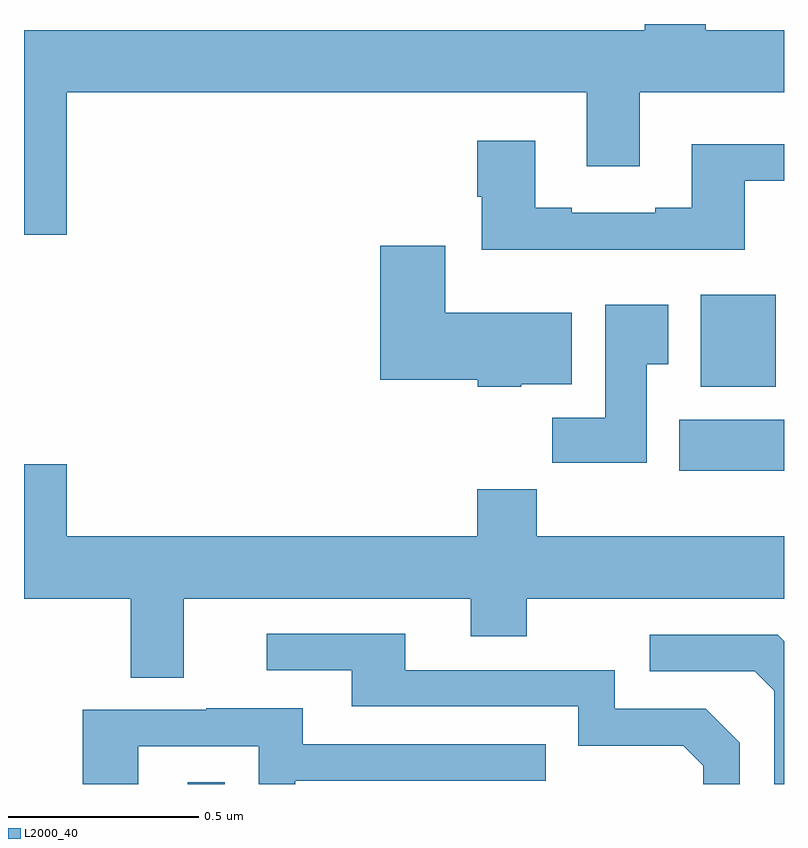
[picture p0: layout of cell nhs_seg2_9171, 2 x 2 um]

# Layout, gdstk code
import gdstk
lib = gdstk.Library(unit=1e-6, precision=1e-09)
def R(c, l, rs):  # rectangles x0, y0, x1, y1
    for r in rs: c.add(gdstk.rectangle(r[:2], r[2:], *l))
def P(c, l, *ps):  # polygons
    for p in ps: c.add(gdstk.Polygon(p, *l))
L2000_40 = (2000, 40)

nhs_seg2_9171 = lib.new_cell('nhs_seg2_9171')
R(nhs_seg2_9171, L2000_40, [(225.431,661.8,225.528,661.804), (226.724,662.624,227,662.758), (226.781,662.846,226.978,663.088)])
P(nhs_seg2_9171, L2000_40, [(225.112,663.62),(226.481,663.62),(226.481,663.426),(226.621,663.426),(226.621,663.62),(227,663.62),(227,663.784),(226.794,663.784),(226.794,663.8),(226.634,663.8),(226.634,663.784),(225,663.784),(225,663.246),(225.112,663.246)],
  [(226.897,663.387),(227,663.387),(227,663.484),(226.757,663.484),(226.757,663.316),(226.661,663.316),(226.661,663.303),(226.441,663.303),(226.441,663.316),(226.345,663.316),(226.345,663.493),(226.193,663.493),(226.193,663.345),(226.205,663.345),(226.205,663.206),(226.897,663.206)],
  [(226.308,662.852),(226.441,662.852),(226.441,663.04),(226.108,663.04),(226.108,663.217),(225.938,663.217),(225.938,662.864),(226.194,662.864),(226.194,662.846),(226.308,662.846)],
  [(226.639,662.905),(226.696,662.905),(226.696,663.061),(226.529,663.061),(226.529,662.764),(226.39,662.764),(226.39,662.646),(226.639,662.646)],
  [(225.421,662.288),(226.175,662.288),(226.175,662.189),(226.323,662.189),(226.323,662.288),(227,662.288),(227,662.452),(226.349,662.452),(226.349,662.576),(226.193,662.576),(226.193,662.452),(225.112,662.452),(225.112,662.641),(225,662.641),(225,662.288),(225.281,662.288),(225.281,662.08),(225.421,662.08)],
  [(226.884,661.908),(226.794,661.998),(226.554,661.998),(226.554,662.1),(226.003,662.1),(226.003,662.196),(225.639,662.196),(225.639,662.1),(225.863,662.1),(225.863,662.004),(226.458,662.004),(226.458,661.901),(226.735,661.901),(226.788,661.848),(226.788,661.8),(226.884,661.8)],
  [(227,662.176),(226.983,662.193),(226.647,662.193),(226.647,662.097),(226.923,662.097),(226.974,662.046),(226.974,661.8),(227,661.8)],
  [(225.3,661.899),(225.618,661.899),(225.618,661.8),(225.714,661.8),(225.714,661.809),(226.373,661.809),(226.373,661.905),(225.733,661.905),(225.733,661.999),(225.479,661.999),(225.479,661.995),(225.155,661.995),(225.155,661.8),(225.3,661.8)])

lib.write_gds('nhs_seg2_9171.gds')
